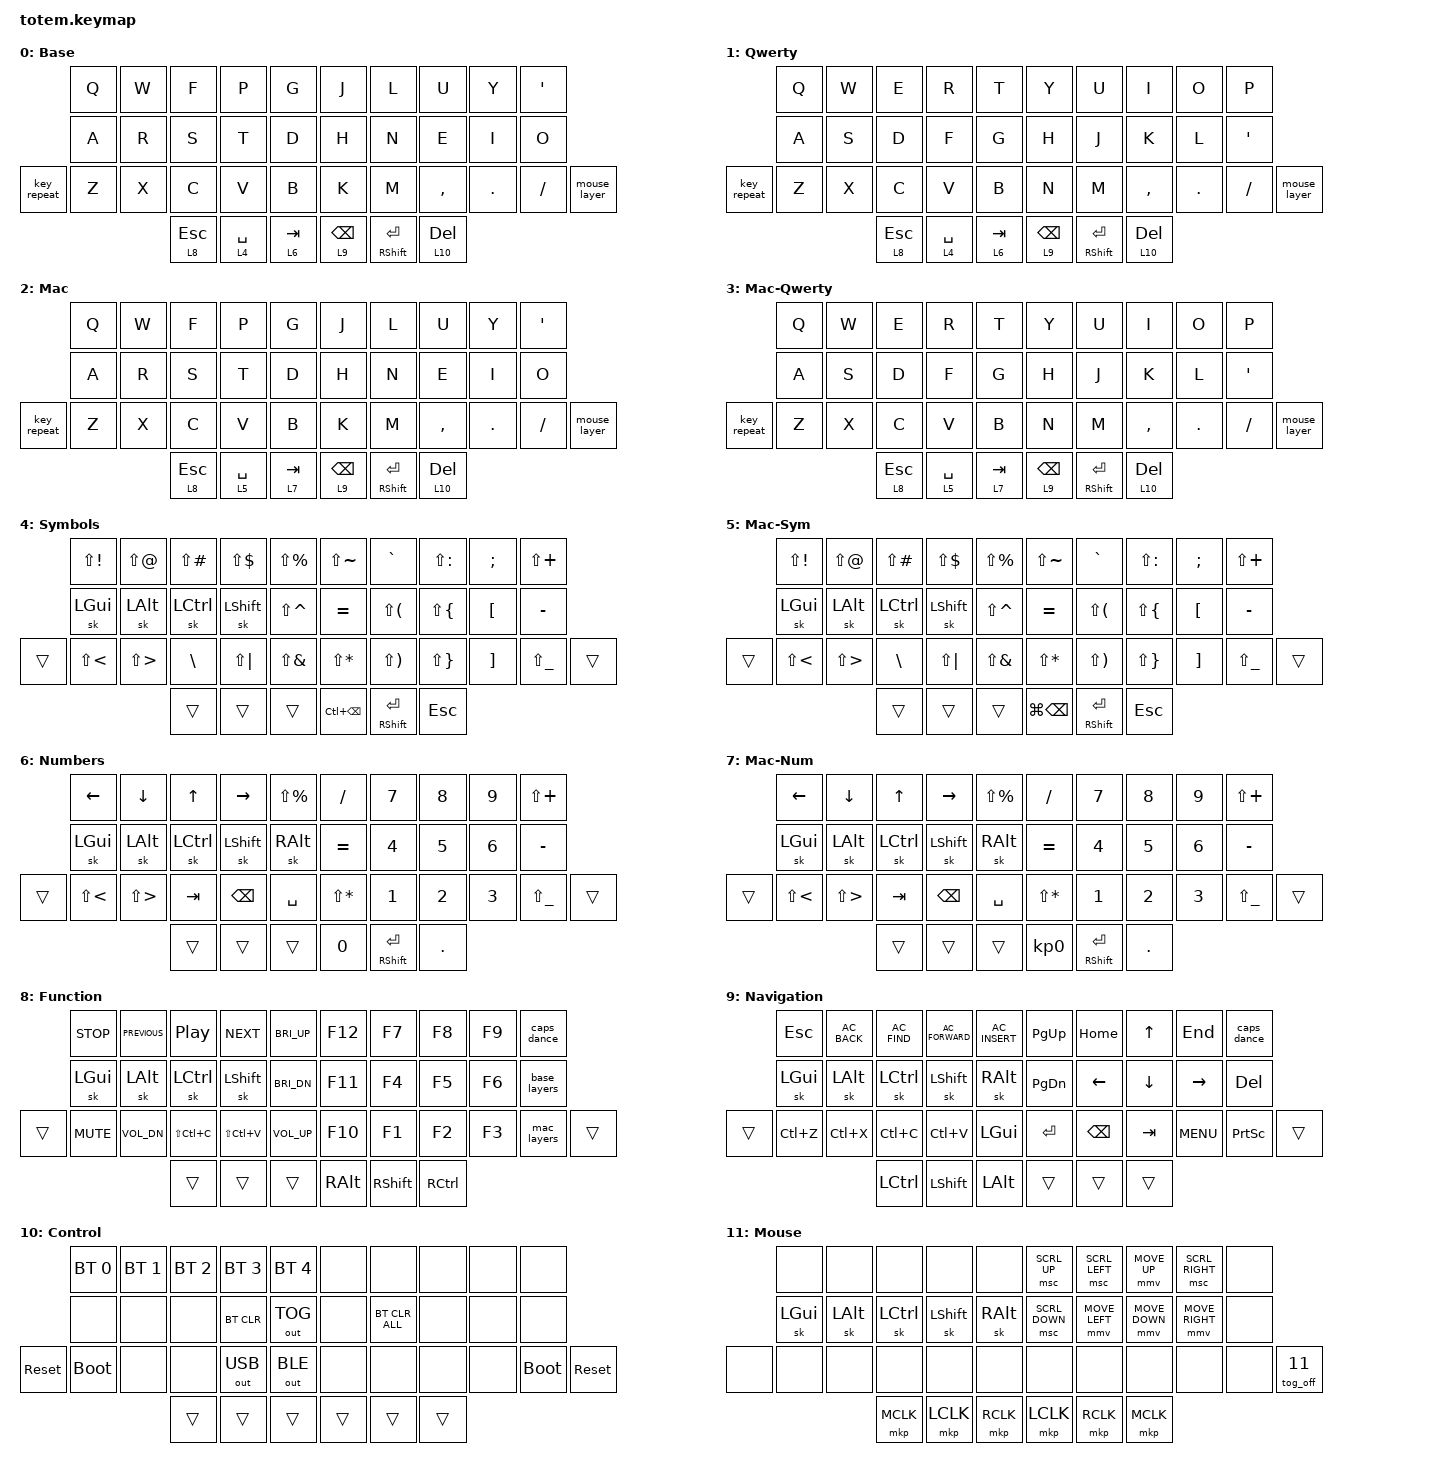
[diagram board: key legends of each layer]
//
//                                                        ▀▀▀▀▀     ▀▀▀▀▀          ▀▀█▀▀
//                                                        ▄▀▀▀▄  ▄  ▄▀▀▀▄  ▄  ▄▀▀▀▄  █  ▄▀▀▀▄
//                                                        █   █  █  █   █  █  █   █  █  █   █
//                                                         ▀▀▀   █   ▀▀▀   █   ▀▀▀   ▀   ▀▀▀
//                                                               █      ▄▄▄█▄▄▄    █   █  
//                                                               ▀      █  █  █     █▄█
//                                                             ▀▀▀▀▀    █  █  █      ▀
//                                                                      ▀  ▀  ▀
//
// ▄▄▄▄▄▄▄▄▄▄▄▄▄▄▄▄▄▄▄▄▄▄▄▄▄▄▄▄▄▄▄▄▄▄▄▄▄▄▄▄▄▄▄▄▄▄▄▄▄▄▄▄▄▄▄▄▄▄▄▄▄▄▄▄▄▄▄▄▄▄▄▄▄▄▄▄▄▄▄▄▄▄▄▄▄▄▄▄▄▄▄▄▄▄▄▄▄▄▄▄▄▄▄▄▄▄▄▄▄▄▄▄▄▄▄▄▄▄▄▄▄▄▄▄▄▄▄▄▄▄▄▄▄▄▄▄▄▄▄▄▄▄▄▄▄▄▄▄▄

#include <behaviors.dtsi>
#include <dt-bindings/zmk/bt.h>
#include <dt-bindings/zmk/keys.h>
#include <dt-bindings/zmk/outputs.h>
#include <dt-bindings/zmk/pointing.h>
#include <dt-bindings/zmk/pointing.h>
#include <dt-bindings/zmk/pointing.h>

#define BASE 0
#define NAV  1
#define SYM  2
#define ADJ  3
#define TVP1 4
#define TVP2 5

&mt {
    quick-tap-ms = <100>;
    global-quick-tap;
    flavor = "tap-preferred";
    tapping-term-ms = <170>;
};

/ {
    combos {
        compatible = "zmk,combos";

        combo_esc {
            timeout-ms = <50>;
            key-positions = <0 1>;
            bindings = <&kp ESC>;
        };

        combo_tvp {
            timeout-ms = <100>;
            key-positions = <11 12 13>;
            bindings = <&tog 0>;
        };
    };

    macros {
        gif: gif {
            label = "giphy";
            compatible = "zmk,behavior-macro";
            #binding-cells = <0>;
            bindings =
                <&macro_press>,
                <&kp LSHFT>,
                <&macro_tap>,
                <&kp N2>,
                <&macro_release>,
                <&kp LSHFT>,
                <&macro_tap>,
                <&kp G &kp I &kp F>;
        };
    };

    behaviors {
        ltq: ltq {
            compatible = "zmk,behavior-hold-tap";
            label = "LTQ";
            bindings = <&mo>, <&kp>;

            #binding-cells = <2>;
            tapping-term-ms = <200>;
            quick-tap-ms = <180>;
            flavor = "tap-preferred";
        };

        caps_dance: caps_dance {
            compatible = "zmk,behavior-tap-dance";
            label = "CAPS_DANCE";
            #binding-cells = <0>;
            bindings = <&caps_word>, <&kp CAPS>;
        };

        base_layers: base_layers {
            compatible = "zmk,behavior-tap-dance";
            label = "BASE_LAYERS";
            #binding-cells = <0>;
            bindings = <&to 0>, <&to 1>;
        };

        tog_off: tog_off {
            compatible = "zmk,behavior-toggle-layer";
            label = "TOG_OFF";
            #binding-cells = <1>;
            toggle-mode = "off";
        };

        mac_layers: mac_layers {
            compatible = "zmk,behavior-tap-dance";
            label = "MAC_LAYERS";
            #binding-cells = <0>;
            bindings = <&to 2>, <&to 3>;
        };

        mouse_layer: mouse_layer {
            compatible = "zmk,behavior-tap-dance";
            label = "MOUSE_LAYER";
            #binding-cells = <0>;
            bindings = <&mo 11>, <&tog_on 11>;
        };

        tog_on: tog_on {
            compatible = "zmk,behavior-toggle-layer";
            label = "TOG_ON";
            #binding-cells = <1>;
        };
    };

    keymap {
        compatible = "zmk,keymap";

        // ▄▄▄▄▄▄▄▄▄▄▄▄▄▄▄▄▄▄▄▄▄▄▄▄▄▄▄▄▄▄▄▄▄▄▄▄▄▄▄▄▄▄▄▄▄▄▄▄▄▄▄▄▄▄▄▄▄▄▄▄▄▄▄▄▄▄▄▄▄▄▄▄▄▄▄▄▄▄▄▄▄▄▄▄▄▄▄▄▄▄▄▄▄▄▄▄▄▄▄▄▄▄▄▄▄▄▄▄▄▄▄▄▄▄▄▄▄▄▄▄▄▄▄▄▄▄▄▄▄▄▄▄▄▄▄▄▄▄▄▄▄▄▄▄▄▄▄▄▄
        // ▄▄▄▄▄▄▄▄▄▄▄▄▄▄▄▄▄▄▄▄▄▄▄▄▄▄▄▄▄▄▄▄▄▄▄▄▄▄▄▄▄▄▄▄▄▄▄▄▄▄▄▄▄▄▄▄▄▄▄▄▄▄▄▄▄▄▄▄▄▄▄▄▄▄▄▄▄▄▄▄▄▄▄▄▄▄▄▄▄▄▄▄▄▄▄▄▄▄▄▄▄▄▄▄▄▄▄▄▄▄▄▄▄▄▄▄▄▄▄▄▄▄▄▄▄▄▄▄▄▄▄▄▄▄▄▄▄▄▄▄▄▄▄▄▄▄▄▄▄
        // ▄▄▄▄▄▄▄▄▄▄▄▄▄▄▄▄▄▄▄▄▄▄▄▄▄▄▄▄▄▄▄▄▄▄▄▄▄▄▄▄▄▄▄▄▄▄▄▄▄▄▄▄▄▄▄▄▄▄▄▄▄▄▄▄▄▄▄▄▄▄▄▄▄▄▄▄▄▄▄▄▄▄▄▄▄▄▄▄▄▄▄▄▄▄▄▄▄▄▄▄▄▄▄▄▄▄▄▄▄▄▄▄▄▄▄▄▄▄▄▄▄▄▄▄▄▄▄▄▄▄▄▄▄▄▄▄▄▄▄▄▄▄▄▄▄▄▄▄▄
        // ▄▄▄▄▄▄▄▄▄▄▄▄▄▄▄▄▄▄▄▄▄▄▄▄▄▄▄▄▄▄▄▄▄▄▄▄▄▄▄▄▄▄▄▄▄▄▄▄▄▄▄▄▄▄▄▄▄▄▄▄▄▄▄▄▄▄▄▄▄▄▄▄▄▄▄▄▄▄▄▄▄▄▄▄▄▄▄▄▄▄▄▄▄▄▄▄▄▄▄▄▄▄▄▄▄▄▄▄▄▄▄▄▄▄▄▄▄▄▄▄▄▄▄▄▄▄▄▄▄▄▄▄▄▄▄▄▄▄▄▄▄▄▄▄▄▄▄▄▄
        // ▄▄▄▄▄▄▄▄▄▄▄▄▄▄▄▄▄▄▄▄▄▄▄▄▄▄▄▄▄▄▄▄▄▄▄▄▄▄▄▄▄▄▄▄▄▄▄▄▄▄▄▄▄▄▄▄▄▄▄▄▄▄▄▄▄▄▄▄▄▄▄▄▄▄▄▄▄▄▄▄▄▄▄▄▄▄▄▄▄▄▄▄▄▄▄▄▄▄▄▄▄▄▄▄▄▄▄▄▄▄▄▄▄▄▄▄▄▄▄▄▄▄▄▄▄▄▄▄▄▄▄▄▄▄▄▄▄▄▄▄▄▄▄▄▄▄▄▄▄
        // ▄▄▄▄▄▄▄▄▄▄▄▄▄▄▄▄▄▄▄▄▄▄▄▄▄▄▄▄▄▄▄▄▄▄▄▄▄▄▄▄▄▄▄▄▄▄▄▄▄▄▄▄▄▄▄▄▄▄▄▄▄▄▄▄▄▄▄▄▄▄▄▄▄▄▄▄▄▄▄▄▄▄▄▄▄▄▄▄▄▄▄▄▄▄▄▄▄▄▄▄▄▄▄▄▄▄▄▄▄▄▄▄▄▄▄▄▄▄▄▄▄▄▄▄▄▄▄▄▄▄▄▄▄▄▄▄▄▄▄▄▄▄▄▄▄▄▄▄▄

        Base {
            bindings = <
             &kp Q  &kp W  &kp F         &kp P         &kp G         &kp J             &kp L            &kp U           &kp Y    &kp SQT
             &kp A  &kp R  &kp S         &kp T         &kp D         &kp H             &kp N            &kp E           &kp I    &kp O
&key_repeat  &kp Z  &kp X  &kp C         &kp V         &kp B         &kp K             &kp M            &kp COMMA       &kp DOT  &kp FSLH  &mouse_layer
                           &lt 8 ESCAPE  &ltq 4 SPACE  &ltq 6 TAB    &ltq 9 BACKSPACE  &mt RSHFT ENTER  &ltq 10 DELETE
            >;
        };

        Qwerty {
            bindings = <
             &kp Q  &kp W  &kp E         &kp R         &kp T         &kp Y             &kp U            &kp I           &kp O    &kp P
             &kp A  &kp S  &kp D         &kp F         &kp G         &kp H             &kp J            &kp K           &kp L    &kp SQT
&key_repeat  &kp Z  &kp X  &kp C         &kp V         &kp B         &kp N             &kp M            &kp COMMA       &kp DOT  &kp FSLH  &mouse_layer
                           &lt 8 ESCAPE  &ltq 4 SPACE  &ltq 6 TAB    &ltq 9 BACKSPACE  &mt RSHFT ENTER  &ltq 10 DELETE
            >;
        };

        Mac {
            bindings = <
             &kp Q  &kp W  &kp F         &kp P         &kp G         &kp J             &kp L            &kp U           &kp Y    &kp SQT
             &kp A  &kp R  &kp S         &kp T         &kp D         &kp H             &kp N            &kp E           &kp I    &kp O
&key_repeat  &kp Z  &kp X  &kp C         &kp V         &kp B         &kp K             &kp M            &kp COMMA       &kp DOT  &kp FSLH  &mouse_layer
                           &lt 8 ESCAPE  &ltq 5 SPACE  &ltq 7 TAB    &ltq 9 BACKSPACE  &mt RSHFT ENTER  &ltq 10 DELETE
            >;
        };

        Mac-Qwerty {
            bindings = <
             &kp Q  &kp W  &kp E         &kp R         &kp T         &kp Y             &kp U            &kp I           &kp O    &kp P
             &kp A  &kp S  &kp D         &kp F         &kp G         &kp H             &kp J            &kp K           &kp L    &kp SQT
&key_repeat  &kp Z  &kp X  &kp C         &kp V         &kp B         &kp N             &kp M            &kp COMMA       &kp DOT  &kp FSLH  &mouse_layer
                           &lt 8 ESCAPE  &ltq 5 SPACE  &ltq 7 TAB    &ltq 9 BACKSPACE  &mt RSHFT ENTER  &ltq 10 DELETE
            >;
        };

        Symbols {
            bindings = <
        &kp LS(EXCL)  &kp LS(AT)  &kp LS(POUND)  &kp LS(DLLR)  &kp LS(PRCNT)    &kp LS(TILDE)  &kp GRAVE        &kp LS(COLON)  &kp SEMI  &kp LS(PLUS)
        &sk LGUI      &sk LALT    &sk LCTRL      &sk LSHFT     &kp LS(CARET)    &kp EQUAL      &kp LS(LPAR)     &kp LS(LBRC)   &kp LBKT  &kp MINUS
&trans  &kp LS(LT)    &kp LS(GT)  &kp BSLH       &kp LS(PIPE)  &kp LS(AMPS)     &kp LS(STAR)   &kp LS(RPAR)     &kp LS(RBRC)   &kp RBKT  &kp LS(UNDER)  &trans
                                  &trans         &trans        &trans           &kp LC(BSPC)   &mt RSHFT ENTER  &kp ESC
            >;
        };

        Mac-Sym {
            bindings = <
        &kp LS(EXCL)  &kp LS(AT)  &kp LS(POUND)  &kp LS(DLLR)  &kp LS(PRCNT)    &kp LS(TILDE)  &kp GRAVE        &kp LS(COLON)  &kp SEMI  &kp LS(PLUS)
        &sk LGUI      &sk LALT    &sk LCTRL      &sk LSHFT     &kp LS(CARET)    &kp EQUAL      &kp LS(LPAR)     &kp LS(LBRC)   &kp LBKT  &kp MINUS
&trans  &kp LS(LT)    &kp LS(GT)  &kp BSLH       &kp LS(PIPE)  &kp LS(AMPS)     &kp LS(STAR)   &kp LS(RPAR)     &kp LS(RBRC)   &kp RBKT  &kp LS(UNDER)  &trans
                                  &trans         &trans        &trans           &kp LG(BSPC)   &mt RSHFT ENTER  &kp ESC
            >;
        };

        Numbers {
            bindings = <
        &kp LEFT    &kp DOWN    &kp UP     &kp RIGHT  &kp LS(PRCNT)    &kp FSLH      &kp N7           &kp N8   &kp N9  &kp LS(PLUS)
        &sk LGUI    &sk LALT    &sk LCTRL  &sk LSHFT  &sk RALT         &kp EQUAL     &kp N4           &kp N5   &kp N6  &kp MINUS
&trans  &kp LS(LT)  &kp LS(GT)  &kp TAB    &kp BSPC   &kp SPACE        &kp LS(STAR)  &kp N1           &kp N2   &kp N3  &kp LS(UNDER)  &trans
                                &trans     &trans     &trans           &kp N0        &mt RSHFT ENTER  &kp DOT
            >;
        };

        Mac-Num {
            bindings = <
        &kp LEFT    &kp DOWN    &kp UP     &kp RIGHT  &kp LS(PRCNT)    &kp FSLH         &kp N7           &kp N8   &kp N9  &kp LS(PLUS)
        &sk LGUI    &sk LALT    &sk LCTRL  &sk LSHFT  &sk RALT         &kp EQUAL        &kp N4           &kp N5   &kp N6  &kp MINUS
&trans  &kp LS(LT)  &kp LS(GT)  &kp TAB    &kp BSPC   &kp SPACE        &kp LS(STAR)     &kp N1           &kp N2   &kp N3  &kp LS(UNDER)  &trans
                                &trans     &trans     &trans           &kp KP_NUMBER_0  &mt RSHFT ENTER  &kp DOT
            >;
        };

        Function {
            bindings = <
        &kp C_STOP  &kp C_PREVIOUS  &kp C_PP       &kp C_NEXT     &kp C_BRI_UP    &kp F12   &kp F7     &kp F8     &kp F9  &caps_dance
        &sk LGUI    &sk LALT        &sk LCTRL      &sk LSHFT      &kp C_BRI_DN    &kp F11   &kp F4     &kp F5     &kp F6  &base_layers
&trans  &kp C_MUTE  &kp C_VOL_DN    &kp LS(LC(C))  &kp LS(LC(V))  &kp C_VOL_UP    &kp F10   &kp F1     &kp F2     &kp F3  &mac_layers   &trans
                                    &trans         &trans         &trans          &kp RALT  &kp RSHFT  &kp RCTRL
            >;
        };

        Navigation {
            bindings = <
        &kp ESC    &kp C_AC_BACK  &kp C_AC_FIND  &kp C_AC_FORWARD  &kp C_AC_INSERT    &kp PG_UP  &kp HOME  &kp UP    &kp END     &caps_dance
        &sk LGUI   &sk LALT       &sk LCTRL      &sk LSHFT         &sk RALT           &kp PG_DN  &kp LEFT  &kp DOWN  &kp RIGHT   &kp DEL
&trans  &kp LC(Z)  &kp LC(X)      &kp LC(C)      &kp LC(V)         &kp LGUI           &kp RET    &kp BSPC  &kp TAB   &kp C_MENU  &kp PRINTSCREEN  &trans
                                  &kp LCTRL      &kp LSHFT         &kp LALT           &trans     &trans    &trans
            >;
        };

        Control {
            bindings = <
            &bt BT_SEL 0  &bt BT_SEL 1  &bt BT_SEL 2  &bt BT_SEL 3  &bt BT_SEL 4    &none   &none           &none   &none  &none
            &none         &none         &none         &bt BT_CLR    &out OUT_TOG    &none   &bt BT_CLR_ALL  &none   &none  &none
&sys_reset  &bootloader   &none         &none         &out OUT_USB  &out OUT_BLE    &none   &none           &none   &none  &bootloader  &sys_reset
                                        &trans        &trans        &trans          &trans  &trans          &trans
            >;
        };

        Mouse {
            bindings = <
       &none     &none     &none      &none      &none        &msc SCRL_UP    &msc SCRL_LEFT  &mmv MOVE_UP    &msc SCRL_RIGHT  &none
       &sk LGUI  &sk LALT  &sk LCTRL  &sk LSHFT  &sk RALT     &msc SCRL_DOWN  &mmv MOVE_LEFT  &mmv MOVE_DOWN  &mmv MOVE_RIGHT  &none
&none  &none     &none     &none      &none      &none        &none           &none           &none           &none            &none  &tog_off 11
                           &mkp MCLK  &mkp LCLK  &mkp RCLK    &mkp LCLK       &mkp RCLK       &mkp MCLK
            >;
        };
    };
};
